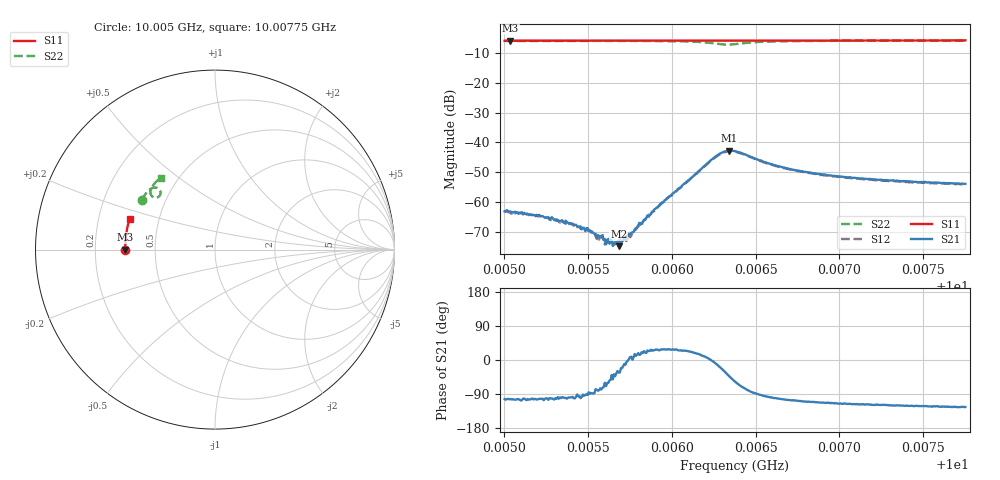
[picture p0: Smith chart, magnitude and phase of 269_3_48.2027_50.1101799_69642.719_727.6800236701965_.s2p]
#  HZ  S  RI  R  50.00
! Rohde & Schwarz Vector Network Analyzer
! Rohde-Schwarz,ZNB20-2Port,1311601062101988,3.16
! Created: UTC 3/20/2024, 11:48:06 AM
! freq[Hz]  re:S11  im:S11  re:S21  im:S21  re:S12  im:S12  re:S22  im:S22
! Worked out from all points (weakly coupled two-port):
!   401 points, 10.005 GHz to 10.00775 GHz, reference 50 ohm
!   highest |S21| = -42.73 dB at 10.00634 GHz (marker M1); lowest = -74.6 dB at 10.00568 GHz (marker M2)
!   lowest |S11| = -6.0 dB at 10.00504 GHz (marker M3), VSWR 3.00, Z = 16.7 + j0.00951 ohm
!   |S11| at or under -10 dB: nowhere
!   |S22| runs from -7.3 to -6.0 dB; largest |S21 - S12| = 0.0004
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1.0005003e10  -0.4997 -0.002  -0.000162 -0.000687  -0.000176 -0.000683  -0.409 0.2782
1.0005038e10  -0.4996 0.000214  -0.00016 -0.000679  -0.000121 -0.000658  -0.4078 0.2802
1.0005223e10  -0.4999 0.0123  -0.000124 -0.000576  -8.79e-05 -0.000573  -0.4007 0.2911
1.0005388e10  -0.4998 0.023  -6.83e-05 -0.00043  -3.63e-05 -0.000443  -0.3939 0.301
1.0005464e10  -0.4997 0.028  -4.59e-05 -0.000351  -2.28e-05 -0.000375  -0.3906 0.3055
1.000556e10  -0.4998 0.0341  4.53e-05 -0.00028  3.98e-05 -0.000275  -0.3861 0.3114
1.0005574e10  -0.4995 0.0351  7.17e-05 -0.000262  0.000119 -0.000243  -0.3855 0.3122
1.0005608e10  -0.4995 0.0373  7.08e-05 -0.000186  0.000118 -0.0002  -0.3837 0.3143
1.0005622e10  -0.4994 0.0382  0.000121 -0.000214  0.000134 -0.000191  -0.383 0.3151
1.000567e10  -0.4993 0.0413  0.000171 -0.00012  0.000169 -0.000127  -0.3805 0.3182
1.0005683e10  -0.4993 0.0421  0.000155 -0.000102  0.000178 -9.89e-05  -0.3799 0.319
1.0005697e10  -0.4991 0.043  0.000198 -7.86e-05  0.000215 -6.1e-05  -0.3789 0.32
1.0005745e10  -0.499 0.0462  0.000288 1.53e-05  0.000275 1.35e-05  -0.3762 0.3231
1.0005924e10  -0.4981 0.0576  0.000794 0.000377  0.000761 0.000434  -0.3634 0.3347
1.0006247e10  -0.4954 0.0786  0.00539 -0.000361  0.00529 -0.000118  -0.3083 0.3325
1.0006302e10  -0.4947 0.0817  0.00618 -0.00285  0.0062 -0.0025  -0.304 0.3099
1.0006343e10  -0.4945 0.0843  0.00534 -0.00498  0.00547 -0.0046  -0.3149 0.2936
1.0006377e10  -0.4944 0.0863  0.00389 -0.00601  0.00413 -0.0057  -0.3296 0.2886
1.0006625e10  -0.4924 0.1022  -0.000777 -0.004  -0.000578 -0.00397  -0.3591 0.33
1.0006838e10  -0.4897 0.1156  -0.00109 -0.00289  -0.000946 -0.00287  -0.3497 0.3511
1.0007298e10  -0.4831 0.1446  -0.00114 -0.00201  -0.00103 -0.002  -0.3265 0.3796
1.0007751e10  -0.4747 0.1725  -0.00114 -0.00169  -0.00105 -0.00173  -0.3035 0.4012
